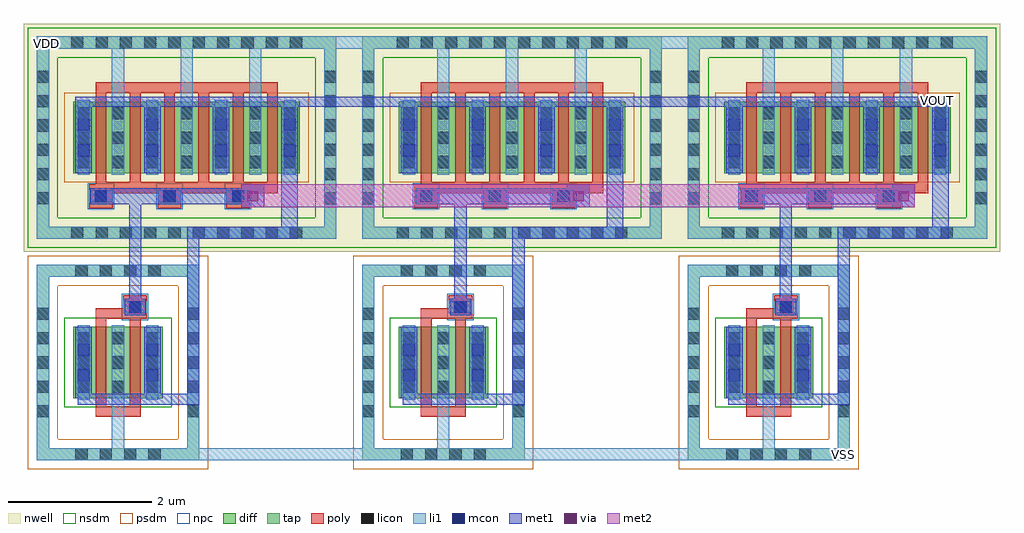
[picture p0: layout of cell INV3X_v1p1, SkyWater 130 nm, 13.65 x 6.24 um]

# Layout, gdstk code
import gdstk
lib = gdstk.Library(unit=1e-6, precision=1e-09)
def R(c, l, rs):  # rectangles x0, y0, x1, y1
    for r in rs: c.add(gdstk.rectangle(r[:2], r[2:], *l))
def A(c, l, x, y, w, h, nx, ny, dx, dy):  # array of equal rectangles
    R(c, l, [(x+i*dx, y+j*dy, x+i*dx+w, y+j*dy+h) for i in range(nx) for j in range(ny)])
nwell = (64, 20)
diff = (65, 20)
tap = (65, 44)
poly = (66, 20)
licon = (66, 44)
li1 = (67, 20)
mcon = (67, 44)
met1 = (68, 20)
via = (68, 44)
met2 = (69, 20)
nsdm = (93, 44)
psdm = (94, 20)
npc = (95, 20)

inv_v1p1 = lib.new_cell('INV_v1p1')
R(inv_v1p1, nwell, [(6.83,2.21,11.38,5.4)])
R(inv_v1p1, diff, [(7.52,0.16,8.77,1.16), (7.52,3.305,10.69,4.305)])
R(inv_v1p1, tap, [(7.01,-0.71,9.28,-0.54), (7.01,-0.54,7.18,1.86), (9.11,-0.54,9.28,1.86), (7.01,1.86,9.28,2.03), (7.01,2.39,11.2,2.56), (7.01,2.56,7.18,5.05), (11.03,2.56,11.2,5.05), (7.01,5.05,11.2,5.22)])
A(inv_v1p1, poly, 7.74, 2.82, 0.33, 0.21, 3, 1, 0.96, 0)
A(inv_v1p1, poly, 7.83, 3.18, 0.15, 1.25, 6, 1, 0.48, 0)
R(inv_v1p1, poly, [(7.83,-0.1,8.46,0.05), (7.83,0.05,7.98,1.27), (8.31,0.05,8.46,1.27), (7.83,1.27,8.55,1.42), (8.22,1.42,8.55,1.6), (7.74,3.03,10.38,3.15), (7.83,3.15,10.38,3.18), (7.83,4.43,10.38,4.58)])
A(inv_v1p1, licon, 7.55, -0.71, 0.17, 0.17, 4, 2, 0.34, 2.57)
A(inv_v1p1, licon, 7.01, -0.105, 0.17, 0.17, 1, 5, 0, 0.34)
A(inv_v1p1, licon, 9.11, -0.105, 0.17, 0.17, 1, 5, 0, 0.34)
A(inv_v1p1, licon, 7.58, 0.235, 0.17, 0.17, 3, 3, 0.48, 0.34)
A(inv_v1p1, licon, 7.49, 2.39, 0.17, 0.17, 10, 2, 0.34, 2.66)
A(inv_v1p1, licon, 7.01, 2.87, 0.17, 0.17, 1, 6, 0, 0.34)
A(inv_v1p1, licon, 11.03, 2.87, 0.17, 0.17, 1, 6, 0, 0.34)
A(inv_v1p1, licon, 7.82, 2.9, 0.17, 0.17, 3, 1, 0.96, 0)
A(inv_v1p1, licon, 7.58, 3.38, 0.17, 0.17, 7, 3, 0.48, 0.34)
R(inv_v1p1, licon, [(8.3,1.35,8.47,1.52)])
A(inv_v1p1, li1, 7.74, 2.9, 0.33, 0.17, 3, 1, 0.96, 0)
A(inv_v1p1, li1, 7.58, 3.285, 0.17, 1.04, 4, 1, 0.96, 0)
A(inv_v1p1, li1, 8.06, 3.285, 0.17, 1.765, 3, 1, 0.96, 0)
R(inv_v1p1, li1, [(7.01,-0.71,9.28,-0.54), (7.01,-0.54,7.18,1.86), (8.06,-0.54,8.23,1.18), (9.11,-0.54,9.28,1.86), (7.58,0.14,7.75,1.18), (8.54,0.14,8.71,1.18), (8.22,1.35,8.55,1.52), (7.01,1.86,9.28,2.03), (7.01,2.39,11.2,2.56), (7.01,2.56,7.18,5.05), (11.03,2.56,11.2,5.05), (7.01,5.05,11.2,5.22)])
A(inv_v1p1, mcon, 7.82, 2.9, 0.17, 0.17, 3, 1, 0.96, 0)
A(inv_v1p1, mcon, 7.58, 3.54, 0.17, 0.17, 4, 2, 0.96, 0.36)
R(inv_v1p1, mcon, [(7.58,0.395,7.75,0.565), (8.54,0.395,8.71,0.565), (7.58,0.755,7.75,0.925), (8.54,0.755,8.71,0.925), (8.3,1.35,8.47,1.52)])
A(inv_v1p1, met1, 7.55, 3.305, 0.23, 0.935, 3, 1, 0.96, 0)
R(inv_v1p1, met1, [(7.58,0.07,9.28,0.16), (7.55,0.16,9.28,0.22), (7.55,0.22,7.78,1.16), (8.51,0.22,8.74,1.16), (9.11,0.22,9.28,2.39), (8.24,1.32,8.53,1.55), (8.3,1.55,8.47,2.87), (9.11,2.39,10.66,2.56), (10.43,2.56,10.66,4.24), (7.76,2.87,9.97,3.1), (7.55,4.24,10.66,4.305), (7.58,4.305,10.63,4.38)])
R(inv_v1p1, nsdm, [(7.395,0.035,8.895,1.285), (6.885,2.265,11.325,2.685), (6.885,2.685,7.305,4.925), (10.905,2.685,11.325,4.925), (6.885,4.925,11.325,5.345)])
R(inv_v1p1, psdm, [(6.885,-0.835,9.405,-0.415), (6.885,-0.415,7.305,1.735), (8.985,-0.415,9.405,1.735), (6.885,1.735,9.405,2.155), (7.395,3.18,10.815,4.43)])
A(inv_v1p1, npc, 7.72, 2.8, 0.37, 0.37, 3, 1, 0.96, 0)
R(inv_v1p1, npc, [(8.2,1.25,8.57,1.62)])
inv_v1p1.add(gdstk.Label('VIN', (8.37,2.16), layer=68, texttype=16))
inv_v1p1.add(gdstk.Label('VOUT', (9.19,2.15), layer=68, texttype=16))
inv_v1p1.add(gdstk.Label('VDD', (11.12,5.12), layer=67, texttype=16))
inv_v1p1.add(gdstk.Label('VSS', (9.19,-0.61), layer=67, texttype=16))

inv3x_v1p1 = lib.new_cell('INV3X_v1p1')
R(inv3x_v1p1, li1, [(0.18,0.18,11.55,0.35), (0.18,5.94,13.47,6.11)])
A(inv3x_v1p1, met1, 3.04, 3.72, 0.32, 0.32, 3, 1, 4.55, 0)
R(inv3x_v1p1, met1, [(0.72,5.13,12.93,5.27)])
A(inv3x_v1p1, via, 3.125, 3.805, 0.15, 0.15, 3, 1, 4.55, 0)
R(inv3x_v1p1, met2, [(3.04,3.72,12.46,4.04)])
R(inv3x_v1p1, nsdm, [(4.495,3.155,4.605,6.235), (9.045,3.155,9.155,6.235)])
inv3x_v1p1.add(gdstk.Reference(inv_v1p1, (-6.83,0.89)))
inv3x_v1p1.add(gdstk.Reference(inv_v1p1, (-2.28,0.89)))
inv3x_v1p1.add(gdstk.Reference(inv_v1p1, (2.27,0.89)))
inv3x_v1p1.add(gdstk.Label('VOUT', (12.77,5.21), layer=68, texttype=16))
inv3x_v1p1.add(gdstk.Label('VDD', (0.31,6.01), layer=67, texttype=16))
inv3x_v1p1.add(gdstk.Label('VSS', (11.46,0.26), layer=67, texttype=16))

lib.write_gds('INV3X_v1p1.gds')
